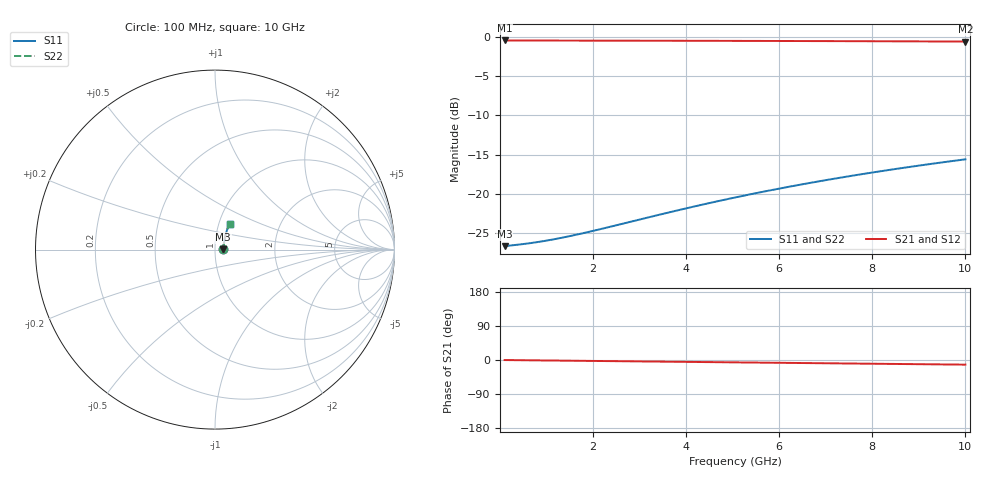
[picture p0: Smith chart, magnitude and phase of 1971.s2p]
# Hz S RI R 50.00
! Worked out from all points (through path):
!   100 points, 100 MHz to 10 GHz, reference 50 ohm
!   highest |S21| = -0.41 dB at 100 MHz (marker M1); lowest = -0.6 dB at 10 GHz (marker M2)
!   group delay of S21, straight-line fit = 3.41 ps
!   lowest |S11| = -26.7 dB at 100 MHz (marker M3), VSWR 1.10, Z = 54.8 + j0.166 ohm
!   |S11| at or under -10 dB: start of sweep to end of sweep
!   |S22| runs from -26.7 to -15.6 dB; largest |S21 - S12| = 0
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1e8  0.0461 0.00151  0.9539 -0.00206  0.9539 -0.00206  0.0461 0.00151
6e8  0.0472 0.00906  0.9528 -0.0123  0.9528 -0.0123  0.0472 0.00906
9e8  0.0476 0.0136  0.9523 -0.0185  0.9523 -0.0185  0.0476 0.0136
1.1e9  0.0479 0.0166  0.952 -0.0226  0.952 -0.0226  0.0479 0.0166
1.3e9  0.0482 0.0196  0.9517 -0.0267  0.9517 -0.0267  0.0482 0.0196
1.5e9  0.0485 0.0226  0.9514 -0.0308  0.9514 -0.0308  0.0485 0.0226
1.8e9  0.049 0.0271  0.9509 -0.0369  0.9509 -0.0369  0.049 0.0271
2.3e9  0.0499 0.0346  0.95 -0.0472  0.95 -0.0472  0.0499 0.0346
3.4e9  0.0523 0.051  0.9475 -0.0696  0.9475 -0.0696  0.0523 0.051
3.9e9  0.0536 0.0583  0.9461 -0.0797  0.9461 -0.0797  0.0536 0.0583
4.3e9  0.0548 0.0642  0.9449 -0.0878  0.9449 -0.0878  0.0548 0.0642
4.7e9  0.0561 0.0701  0.9436 -0.0958  0.9436 -0.0958  0.0561 0.0701
5.1e9  0.0574 0.0759  0.9422 -0.1038  0.9422 -0.1038  0.0574 0.0759
5.5e9  0.0588 0.0817  0.9407 -0.1118  0.9407 -0.1118  0.0588 0.0817
5.9e9  0.0604 0.0875  0.9391 -0.1198  0.9391 -0.1198  0.0604 0.0875
6.3e9  0.062 0.0932  0.9374 -0.1277  0.9374 -0.1277  0.062 0.0932
6.7e9  0.0637 0.0989  0.9356 -0.1356  0.9356 -0.1356  0.0637 0.0989
7.5e9  0.0674 0.1102  0.9317 -0.1513  0.9317 -0.1513  0.0674 0.1102
7.9e9  0.0694 0.1158  0.9296 -0.1591  0.9296 -0.1591  0.0694 0.1158
8.4e9  0.072 0.1228  0.9268 -0.1688  0.9268 -0.1688  0.072 0.1228
9.2e9  0.0765 0.1337  0.9221 -0.1841  0.9221 -0.1841  0.0765 0.1337
1e10  0.0814 0.1444  0.917 -0.1993  0.917 -0.1993  0.0814 0.1444
